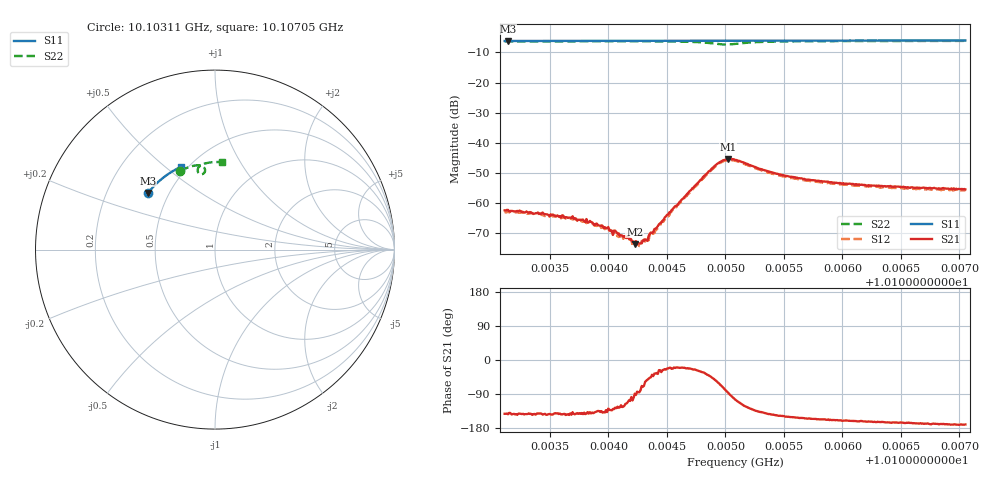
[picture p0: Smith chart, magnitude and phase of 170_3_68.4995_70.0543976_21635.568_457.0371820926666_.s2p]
#  HZ  S  RI  R  50.00
! Rohde & Schwarz Vector Network Analyzer
! Rohde-Schwarz,ZNB20-2Port,1311601062101988,3.16
! Created: UTC 3/20/2024, 5:11:19 PM
! freq[Hz]  re:S11  im:S11  re:S21  im:S21  re:S12  im:S12  re:S22  im:S22
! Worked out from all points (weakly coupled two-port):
!   401 points, 10.10311 GHz to 10.10705 GHz, reference 50 ohm
!   highest |S21| = -45.37 dB at 10.10502 GHz (marker M1); lowest = -73.6 dB at 10.10423 GHz (marker M2)
!   lowest |S11| = -6.2 dB at 10.10314 GHz (marker M3), VSWR 2.91, Z = 19.2 + j15.9 ohm
!   |S11| at or under -10 dB: nowhere
!   |S22| runs from -7.4 to -6.2 dB; largest |S21 - S12| = 0.00057
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1.0103112e10  -0.3738 0.3142  -0.000597 -0.000466  -0.000514 -0.000495  -0.1934 0.4399
1.0103142e10  -0.3727 0.3154  -0.000619 -0.000462  -0.00053 -0.000507  -0.1915 0.4407
1.0103566e10  -0.3564 0.3354  -0.000483 -0.000399  -0.000459 -0.00039  -0.1653 0.4524
1.0103772e10  -0.3483 0.3449  -0.000402 -0.000338  -0.000376 -0.000324  -0.152 0.4574
1.010393e10  -0.3417 0.3521  -0.000308 -0.000286  -0.000276 -0.000308  -0.1415 0.461
1.0104028e10  -0.3376 0.3563  -0.000239 -0.000257  -0.00019 -0.000279  -0.1346 0.4631
1.0104068e10  -0.336 0.3582  -0.000201 -0.000264  -0.000165 -0.000273  -0.1318 0.4639
1.0104117e10  -0.3338 0.3602  -0.000161 -0.00024  -0.000128 -0.000257  -0.1282 0.4649
1.0104166e10  -0.3318 0.3623  -9.8e-05 -0.000261  -7.62e-05 -0.000234  -0.1247 0.4658
1.0104225e10  -0.3292 0.3648  3.91e-06 -0.00021  3.34e-07 -0.000211  -0.1202 0.4668
1.0104265e10  -0.3276 0.3665  1.83e-05 -0.000215  4.61e-05 -0.000189  -0.117 0.4674
1.0104314e10  -0.3252 0.3688  0.000134 -0.000211  0.00011 -0.000203  -0.1131 0.4682
1.0104432e10  -0.3201 0.3736  0.000398 -0.000201  0.000361 -0.000177  -0.1031 0.4695
1.010455e10  -0.3147 0.3784  0.000736 -0.000308  0.000747 -0.000217  -0.0918 0.4701
1.0104875e10  -0.2998 0.3912  0.00256 -0.00248  0.00269 -0.00217  -0.0556 0.4459
1.0104954e10  -0.2961 0.3941  0.00204 -0.00434  0.0024 -0.00399  -0.0602 0.4273
1.0105023e10  -0.2929 0.3966  0.000356 -0.00538  0.000782 -0.00512  -0.0775 0.4201
1.0105082e10  -0.2903 0.3988  -0.00127 -0.00507  -0.000736 -0.005  -0.0913 0.4269
1.0105387e10  -0.2758 0.4102  -0.00263 -0.00196  -0.00235 -0.00209  -0.0809 0.4687
1.0105742e10  -0.2582 0.4227  -0.00218 -0.001  -0.002 -0.00117  -0.0515 0.4809
1.0106402e10  -0.2241 0.4434  -0.00184 -0.000498  -0.00169 -0.000637  -0.00453 0.4876
1.0107052e10  -0.1889 0.461  -0.00166 -0.00029  -0.00159 -0.000409  0.0388 0.4882
